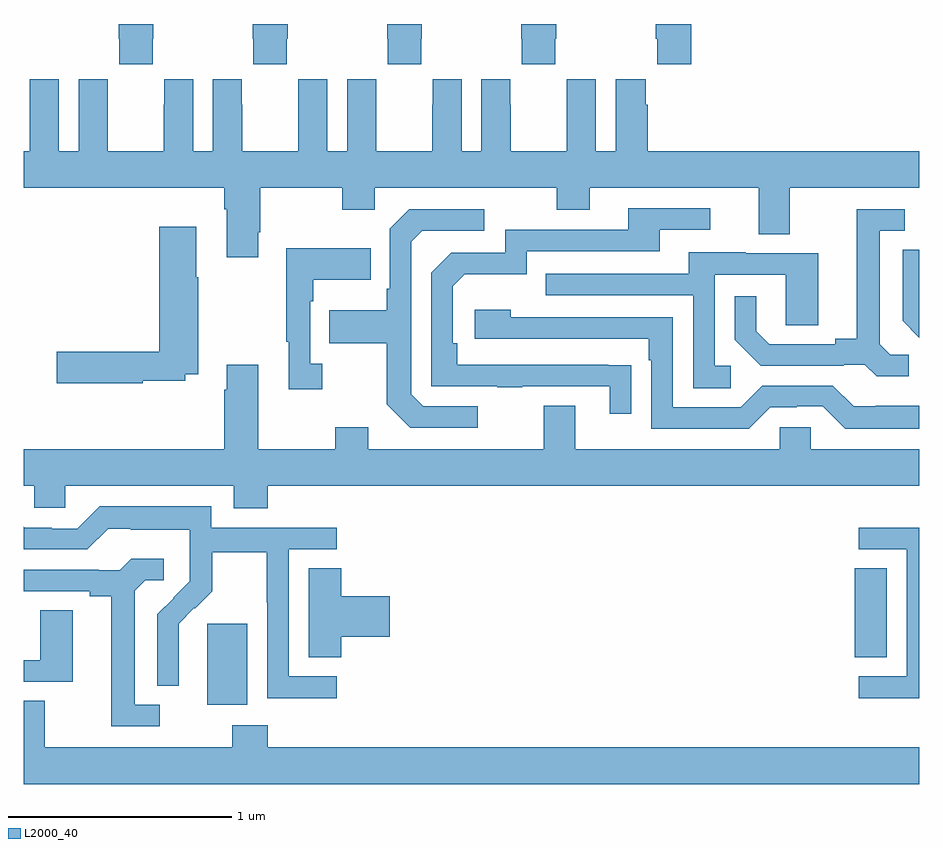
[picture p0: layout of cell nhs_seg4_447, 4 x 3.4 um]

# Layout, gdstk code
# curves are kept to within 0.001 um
import gdstk
lib = gdstk.Library(unit=1e-6, precision=1e-09)
def R(c, l, rs):  # rectangles x0, y0, x1, y1
    for r in rs: c.add(gdstk.rectangle(r[:2], r[2:], *l))
def P(c, l, *ps):  # polygons
    for p in ps: c.add(gdstk.Polygon(p, *l))
L2000_40 = (2000, 40)

nhs_seg4_447 = lib.new_cell('nhs_seg4_447')
R(nhs_seg4_447, L2000_40, [(133.82,779.858,133.999,780.219), (136.712,780.07,136.855,780.467)])
P(nhs_seg4_447, L2000_40, [(135.983,782.9),(135.823,782.9),(135.823,782.833),(135.829,782.833),(135.829,782.721),(135.983,782.721)],
  [(135.375,782.833),(135.378,782.833),(135.378,782.9),(135.223,782.9),(135.223,782.833),(135.225,782.833),(135.225,782.721),(135.375,782.721)],
  [(134.775,782.833),(134.778,782.833),(134.778,782.9),(134.623,782.9),(134.623,782.833),(134.625,782.833),(134.625,782.721),(134.775,782.721)],
  [(134.175,782.833),(134.178,782.833),(134.178,782.9),(134.023,782.9),(134.023,782.833),(134.025,782.833),(134.025,782.721),(134.175,782.721)],
  [(133.575,782.833),(133.578,782.833),(133.578,782.9),(133.423,782.9),(133.423,782.833),(133.425,782.833),(133.425,782.721),(133.575,782.721)],
  [(133.374,782.54),(133.374,782.653),(133.244,782.653),(133.244,782.332),(133.156,782.332),(133.156,782.653),(133.026,782.653),(133.026,782.54),(133.025,782.54),(133.025,782.332),(133,782.332),(133,782.168),(133.895,782.168),(133.895,782.072),(133.907,782.072),(133.907,781.857),(134.047,781.857),(134.047,781.969),(134.055,781.969),(134.055,782.168),(134.422,782.168),(134.422,782.069),(134.568,782.069),(134.568,782.168),(135.382,782.168),(135.382,782.069),(135.529,782.069),(135.529,782.168),(136.283,782.168),(136.283,781.96),(136.423,781.96),(136.423,782.168),(137,782.168),(137,782.332),(135.788,782.332),(135.788,782.54),(135.778,782.54),(135.778,782.653),(135.644,782.653),(135.644,782.332),(135.556,782.332),(135.556,782.653),(135.426,782.653),(135.426,782.54),(135.425,782.54),(135.425,782.332),(135.175,782.332),(135.175,782.54),(135.174,782.54),(135.174,782.653),(135.044,782.653),(135.044,782.332),(134.956,782.332),(134.956,782.653),(134.826,782.653),(134.826,782.54),(134.825,782.54),(134.825,782.332),(134.575,782.332),(134.575,782.54),(134.574,782.54),(134.574,782.653),(134.444,782.653),(134.444,782.332),(134.356,782.332),(134.356,782.653),(134.226,782.653),(134.226,782.54),(134.225,782.54),(134.225,782.332),(133.975,782.332),(133.975,782.54),(133.974,782.54),(133.974,782.653),(133.844,782.653),(133.844,782.332),(133.756,782.332),(133.756,782.653),(133.626,782.653),(133.626,782.54),(133.625,782.54),(133.625,782.332),(133.375,782.332),(133.375,782.54)],
  [(135.713,781.376),(134.936,781.377),(134.936,781.474),(134.916,781.474),(134.916,781.728),(134.969,781.781),(135.246,781.781),(135.246,781.884),(135.841,781.884),(135.841,781.98),(136.066,781.98),(136.066,782.076),(135.701,782.076),(135.701,781.98),(135.15,781.98),(135.15,781.878),(134.91,781.878),(134.82,781.788),(134.82,781.281),(135.115,781.281),(135.115,781.276),(135.227,781.276),(135.227,781.281),(135.617,781.281),(135.617,781.158),(135.713,781.158)],
  [(135.028,781.191),(134.784,781.191),(134.73,781.245),(134.73,781.926),(134.781,781.977),(135.058,781.977),(135.058,782.073),(134.721,782.073),(134.634,781.986),(134.634,781.717),(134.622,781.717),(134.622,781.621),(134.365,781.621),(134.365,781.474),(134.622,781.474),(134.622,781.201),(134.727,781.095),(135.028,781.095)],
  [(136.954,781.422),(136.872,781.422),(136.825,781.469),(136.825,781.977),(136.936,781.977),(136.936,782.073),(136.721,782.073),(136.721,781.493),(136.625,781.493),(136.625,781.47),(136.33,781.47),(136.273,781.527),(136.273,781.684),(136.176,781.684),(136.176,781.49),(136.292,781.374),(136.664,781.374),(136.664,781.377),(136.758,781.377),(136.81,781.325),(136.954,781.325)],
  [(133.53,781.306),(133.722,781.306),(133.722,781.334),(133.779,781.334),(133.779,781.769),(133.771,781.769),(133.771,781.993),(133.604,781.993),(133.604,781.436),(133.146,781.436),(133.146,781.294),(133.53,781.294)],
  [(134.332,781.382),(134.28,781.382),(134.28,781.661),(134.293,781.661),(134.293,781.757),(134.549,781.757),(134.549,781.897),(134.172,781.897),(134.172,781.481),(134.183,781.481),(134.183,781.269),(134.332,781.269)],
  [(137,781.892),(136.926,781.892),(136.926,781.574),(136.999,781.501),(136.998,781.5),(137,781.498)],
  [(136.159,781.374),(136.086,781.374),(136.086,781.779),(136.404,781.779),(136.404,781.555),(136.549,781.555),(136.549,781.875),(136.225,781.875),(136.225,781.879),(135.971,781.879),(135.971,781.785),(135.331,781.785),(135.331,781.689),(135.99,781.689),(135.99,781.273),(136.159,781.273)],
  [(137,781.195),(136.807,781.195),(136.807,781.191),(136.707,781.191),(136.614,781.284),(136.299,781.284),(136.203,781.188),(135.9,781.188),(135.9,781.59),(135.176,781.59),(135.176,781.624),(135.015,781.624),(135.015,781.494),(135.791,781.494),(135.791,781.397),(135.804,781.397),(135.804,781.092),(136.239,781.092),(136.335,781.188),(136.454,781.188),(136.454,781.191),(136.569,781.191),(136.669,781.091),(137,781.091)],
  [(134.09,780.836),(137,780.836),(137,781),(136.515,781),(136.515,781.098),(136.377,781.098),(136.377,781),(135.463,781),(135.463,781.195),(135.323,781.195),(135.323,781),(134.539,781),(134.539,781.099),(134.392,781.099),(134.392,781),(134.047,781),(134.047,781.378),(133.907,781.378),(133.907,781.265),(133.895,781.265),(133.895,781),(133,781),(133,780.836),(133.047,780.836),(133.047,780.738),(133.185,780.738),(133.185,780.836),(133.937,780.836),(133.937,780.737),(134.09,780.737)],
  [(134.398,779.985),(134.184,779.985),(134.184,780.552),(134.398,780.552),(134.398,780.648),(133.836,780.648),(133.836,780.745),(133.339,780.745),(133.239,780.645),(133.124,780.645),(133.124,780.648),(133.005,780.648),(133,780.653),(133,780.552),(133.284,780.552),(133.377,780.645),(133.477,780.645),(133.477,780.641),(133.74,780.641),(133.74,780.507),(133.742,780.507),(133.742,780.41),(133.596,780.262),(133.596,779.944),(133.692,779.944),(133.691,780.221),(133.761,780.291),(133.764,780.288),(133.841,780.365),(133.841,780.54),(134.086,780.54),(134.086,780.316),(134.088,780.316),(134.088,779.887),(134.398,779.887)],
  [(137,780.648),(136.731,780.648),(136.731,780.552),(136.944,780.552),(136.944,779.985),(136.731,779.985),(136.731,779.887),(137,779.887)],
  [(133.606,779.859),(133.495,779.859),(133.495,780.367),(133.542,780.414),(133.624,780.414),(133.624,780.511),(133.48,780.511),(133.428,780.459),(133.334,780.459),(133.334,780.462),(133,780.462),(133,780.366),(133.295,780.366),(133.295,780.344),(133.391,780.344),(133.391,779.763),(133.606,779.763)],
  [(134.417,780.161),(134.635,780.161),(134.635,780.344),(134.417,780.344),(134.417,780.467),(134.273,780.467),(134.273,780.07),(134.417,780.07)],
  [(133.219,780.281),(133.074,780.281),(133.074,780.057),(133,780.057),(133,779.961),(133.219,779.961)],
  [(137,779.668),(134.09,779.668),(134.09,779.767),(133.93,779.767),(133.93,779.668),(133.093,779.668),(133.093,779.876),(133,779.876),(133,779.504),(137,779.504)])

lib.write_gds('nhs_seg4_447.gds')
